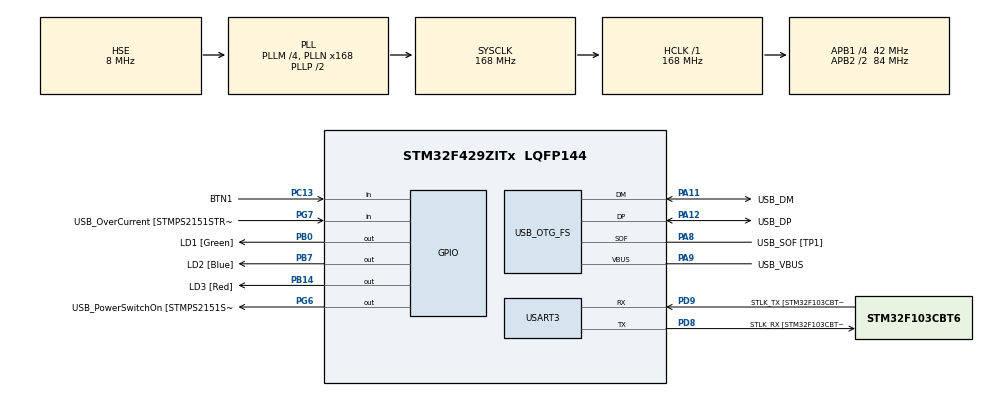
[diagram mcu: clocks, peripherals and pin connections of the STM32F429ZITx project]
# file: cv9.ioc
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Mcu.Family=STM32F4
Mcu.Name=STM32F429ZITx
Mcu.Package=LQFP144
NVIC.OTG_FS_IRQn=true\:0\:0\:false\:false\:true\:false\:true\:true
NVIC.PriorityGroup=NVIC_PRIORITYGROUP_4
PA1.GPIO_Label=RMII_REF_CLK [LAN8742A-CZ-TR_REFCLK0]
PA1.Signal=ETH_REF_CLK
PA10.GPIO_Label=USB_ID
PA10.Signal=USB_OTG_FS_ID
PA11.GPIO_Label=USB_DM
PA11.Mode=Device_Only
PA11.Signal=USB_OTG_FS_DM
PA12.GPIO_Label=USB_DP
PA12.Mode=Device_Only
PA12.Signal=USB_OTG_FS_DP
PA13.GPIO_Label=TMS
PA13.Mode=Serial_Wire
PA13.Signal=SYS_JTMS-SWDIO
PA14.GPIO_Label=TCK
PA14.Mode=Serial_Wire
PA14.Signal=SYS_JTCK-SWCLK
PA2.GPIO_Label=RMII_MDIO [LAN8742A-CZ-TR_MDIO]
PA2.Signal=ETH_MDIO
PA7.GPIO_Label=RMII_CRS_DV [LAN8742A-CZ-TR_CRS_DV]
PA7.Signal=ETH_CRS_DV
PA8.GPIO_Label=USB_SOF [TP1]
PA8.Mode=Activate_SOF_FS
PA8.Signal=USB_OTG_FS_SOF
PA9.GPIO_Label=USB_VBUS
PA9.Mode=Activate_VBUS
PA9.Signal=USB_OTG_FS_VBUS
PB0.GPIO_Label=LD1 [Green]
PB0.Signal=GPIO_Output
PB13.GPIO_Label=RMII_TXD1 [LAN8742A-CZ-TR_TXD1]
PB13.Signal=ETH_TXD1
PB14.GPIO_Label=LD3 [Red]
PB14.Signal=GPIO_Output
PB7.GPIO_Label=LD2 [Blue]
PB7.Signal=GPIO_Output
PC1.GPIO_Label=RMII_MDC [LAN8742A-CZ-TR_MDC]
PC1.Signal=ETH_MDC
PC13.GPIO_Label=BTN1
PC13.Signal=GPIO_Input
PC14/OSC32_IN.Mode=LSE-External-Oscillator
PC14/OSC32_IN.Signal=RCC_OSC32_IN
PC15/OSC32_OUT.Mode=LSE-External-Oscillator
PC15/OSC32_OUT.Signal=RCC_OSC32_OUT
PC4.GPIO_Label=RMII_RXD0 [LAN8742A-CZ-TR_RXD0]
PC4.Signal=ETH_RXD0
PC5.GPIO_Label=RMII_RXD1 [LAN8742A-CZ-TR_RXD1]
PC5.Signal=ETH_RXD1
PD8.GPIO_Label=STLK_RX [STM32F103CBT6_PA3]
PD8.Mode=Asynchronous
PD8.Signal=USART3_TX
PD9.GPIO_Label=STLK_TX [STM32F103CBT6_PA2]
PD9.Mode=Asynchronous
PD9.Signal=USART3_RX
PG11.GPIO_Label=RMII_TX_EN [LAN8742A-CZ-TR_TXEN]
PG11.Signal=ETH_TX_EN
PG13.GPIO_Label=RMII_TXD0 [LAN8742A-CZ-TR_TXD0]
PG13.Signal=ETH_TXD0
PG6.GPIO_Label=USB_PowerSwitchOn [STMPS2151STR_EN]
PG6.Signal=GPIO_Output
PG7.GPIO_Label=USB_OverCurrent [STMPS2151STR_FAULT]
PG7.Signal=GPIO_Input
PH0/OSC_IN.GPIO_Label=MCO [STM32F103CBT6_PA8]
PH0/OSC_IN.Mode=HSE-External-Clock-Source
PH0/OSC_IN.Signal=RCC_OSC_IN
PH1/OSC_OUT.Mode=HSE-External-Clock-Source
PH1/OSC_OUT.Signal=RCC_OSC_OUT
ProjectManager.HeapSize=0x200
ProjectManager.StackSize=0x400
ProjectManager.TargetToolchain=STM32CubeIDE
RCC.48MHZClocksFreq_Value=48000000
RCC.AHBFreq_Value=168000000
RCC.APB1CLKDivider=RCC_HCLK_DIV4
RCC.APB1Freq_Value=42000000
RCC.APB1TimFreq_Value=84000000
RCC.APB2CLKDivider=RCC_HCLK_DIV2
RCC.APB2Freq_Value=84000000
RCC.APB2TimCLKDivider=2
RCC.APB2TimFreq_Value=168000000
RCC.CortexFreq_Value=168000000
RCC.HCLKFreq_Value=168000000
RCC.HSE_VALUE=8000000
RCC.HSI_VALUE=16000000
RCC.PLLM=4
RCC.PLLMUL=RCC_PLL_MUL9
RCC.PLLN=168
RCC.PLLQ=7
RCC.PRESCALERUSB=RCC_USBCLKSOURCE_PLL_DIV1_5
RCC.SYSCLKFreq_VALUE=168000000
RCC.SYSCLKSource=RCC_SYSCLKSOURCE_PLLCLK
RCC.SYSCLKSourceVirtual=RCC_SYSCLKSOURCE_PLLCLK
RCC.USBFreq_Value=48000000
RCC.VCOOutputFreq_Value=336000000
USART3.VirtualMode=VM_ASYNC
USB_DEVICE.CLASS_NAME_FS=HID
USB_DEVICE.VirtualMode-HID_FS=Hid
USB_DEVICE.VirtualModeFS=Hid_FS
USB_OTG_FS.VirtualMode=Device_Only
VP_USB_DEVICE_VS_USB_DEVICE_HID_FS.Mode=HID_FS
board=NUCLEO-F429ZI

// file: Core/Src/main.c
/* USER CODE BEGIN Header */
/**
 ******************************************************************************
 * @file           : main.c
 * @brief          : Main program body
 ******************************************************************************
 * @attention
 *
 * Copyright (c) 2025 STMicroelectronics.
 * All rights reserved.
 *
 * This software is licensed under terms that can be found in the LICENSE file
 * in the root directory of this software component.
 * If no LICENSE file comes with this software, it is provided AS-IS.
 *
 ******************************************************************************
 */
/* USER CODE END Header */
#include "main.h"
#include "usb_device.h"

/* USER CODE BEGIN Includes */
#include "usbd_hid.h"
#include <math.h>

/* USER CODE END Includes */

/* USER CODE BEGIN PD */
#define BTN_PRESSED 	1
#define BTN_RELEASED 	0
/* USER CODE END PD */

UART_HandleTypeDef huart3;

/* USER CODE BEGIN PV */
extern USBD_HandleTypeDef hUsbDeviceFS;
/* USER CODE END PV */

void SystemClock_Config(void);
static void MX_GPIO_Init(void);
static void MX_USART3_UART_Init(void);

/* USER CODE BEGIN 0 */
void step(int x, int y, uint8_t btn) {
	uint8_t buff[4];
	buff[0] = 0x00 | btn; // press the left button
	buff[1] = (int8_t)(x); // shift X +10
	buff[2] = (int8_t)(y); // shift Y -3
	buff[3] = 0; // no scroll
	USBD_HID_SendReport(&hUsbDeviceFS, buff, sizeof(buff));
	HAL_Delay(USBD_HID_GetPollingInterval(&hUsbDeviceFS));
}

void draw_circle(float radius, int px, int py, int init_phi, int end_phi) {
	float x = 0, y = 0;

	step(px,py, 0);

	for (int i = init_phi; i <= end_phi; i++) {
		x = round(radius * cos(i*M_PI/180));
		y = round(radius * sin(i*M_PI/180));
		step((int)x, (int)y, 1);
	}
	step(0,0,0);
}
/* USER CODE END 0 */

int main(void)
{

	/* MCU Configuration--------------------------------------------------------*/

	/* Reset of all peripherals, Initializes the Flash interface and the Systick. */
	HAL_Init();

	/* Configure the system clock */
	SystemClock_Config();

	/* Initialize all configured peripherals */
	MX_GPIO_Init();
	MX_USART3_UART_Init();
	MX_USB_DEVICE_Init();

	/* Infinite loop */
	/* USER CODE BEGIN WHILE */
	while (1)
	{
		if (HAL_GPIO_ReadPin(BTN1_GPIO_Port, BTN1_Pin)) {

			draw_circle(5, 0, 0, 0, 360);

			step(0,0,BTN_RELEASED);
			step(0,100,BTN_PRESSED);
			step(0,60,BTN_PRESSED);
			step(0,0,BTN_RELEASED);

			step(-60,0,BTN_PRESSED);
			step(0,0,BTN_RELEASED);
			step(0,-80,BTN_PRESSED);
			step(0,0,BTN_RELEASED);
			draw_circle(1, 0, 0, 0, 360);

			step(60,0,BTN_PRESSED);
			step(0,0,BTN_RELEASED);
			step(75,0,BTN_PRESSED);
			step(0,0,BTN_RELEASED);
			draw_circle(1, 0, 0, 0, 360);

			step(20,0,BTN_PRESSED);
			step(0,0,BTN_RELEASED);
			step(0,80,BTN_PRESSED);
			step(0,0,BTN_RELEASED);
			draw_circle(4, 0, 0, 120, 240);

		}
		/* USER CODE END WHILE */

	}
}

void SystemClock_Config(void)
{
	RCC_OscInitTypeDef RCC_OscInitStruct = {0};
	RCC_ClkInitTypeDef RCC_ClkInitStruct = {0};

	/** Configure the main internal regulator output voltage
	 */
	__HAL_RCC_PWR_CLK_ENABLE();
	__HAL_PWR_VOLTAGESCALING_CONFIG(PWR_REGULATOR_VOLTAGE_SCALE1);

	/** Initializes the RCC Oscillators according to the specified parameters
	 * in the RCC_OscInitTypeDef structure.
	 */
	RCC_OscInitStruct.OscillatorType = RCC_OSCILLATORTYPE_HSE;
	RCC_OscInitStruct.HSEState = RCC_HSE_BYPASS;
	RCC_OscInitStruct.PLL.PLLState = RCC_PLL_ON;
	RCC_OscInitStruct.PLL.PLLSource = RCC_PLLSOURCE_HSE;
	RCC_OscInitStruct.PLL.PLLM = 4;
	RCC_OscInitStruct.PLL.PLLN = 168;
	RCC_OscInitStruct.PLL.PLLP = RCC_PLLP_DIV2;
	RCC_OscInitStruct.PLL.PLLQ = 7;
	if (HAL_RCC_OscConfig(&RCC_OscInitStruct) != HAL_OK)
	{
		Error_Handler();
	}

	/** Initializes the CPU, AHB and APB buses clocks
	 */
	RCC_ClkInitStruct.ClockType = RCC_CLOCKTYPE_HCLK|RCC_CLOCKTYPE_SYSCLK
			|RCC_CLOCKTYPE_PCLK1|RCC_CLOCKTYPE_PCLK2;
	RCC_ClkInitStruct.SYSCLKSource = RCC_SYSCLKSOURCE_PLLCLK;
	RCC_ClkInitStruct.AHBCLKDivider = RCC_SYSCLK_DIV1;
	RCC_ClkInitStruct.APB1CLKDivider = RCC_HCLK_DIV4;
	RCC_ClkInitStruct.APB2CLKDivider = RCC_HCLK_DIV2;

	if (HAL_RCC_ClockConfig(&RCC_ClkInitStruct, FLASH_LATENCY_5) != HAL_OK)
	{
		Error_Handler();
	}
}

static void MX_USART3_UART_Init(void)
{

	huart3.Instance = USART3;
	huart3.Init.BaudRate = 115200;
	huart3.Init.WordLength = UART_WORDLENGTH_8B;
	huart3.Init.StopBits = UART_STOPBITS_1;
	huart3.Init.Parity = UART_PARITY_NONE;
	huart3.Init.Mode = UART_MODE_TX_RX;
	huart3.Init.HwFlowCtl = UART_HWCONTROL_NONE;
	huart3.Init.OverSampling = UART_OVERSAMPLING_16;
	if (HAL_UART_Init(&huart3) != HAL_OK)
	{
		Error_Handler();
	}

}

static void MX_GPIO_Init(void)
{
	GPIO_InitTypeDef GPIO_InitStruct = {0};

	/* GPIO Ports Clock Enable */
	__HAL_RCC_GPIOC_CLK_ENABLE();
	__HAL_RCC_GPIOH_CLK_ENABLE();
	__HAL_RCC_GPIOA_CLK_ENABLE();
	__HAL_RCC_GPIOB_CLK_ENABLE();
	__HAL_RCC_GPIOD_CLK_ENABLE();
	__HAL_RCC_GPIOG_CLK_ENABLE();

	/*Configure GPIO pin Output Level */
	HAL_GPIO_WritePin(GPIOB, LD1_Pin|LD3_Pin|LD2_Pin, GPIO_PIN_RESET);

	/*Configure GPIO pin Output Level */
	HAL_GPIO_WritePin(USB_PowerSwitchOn_GPIO_Port, USB_PowerSwitchOn_Pin, GPIO_PIN_RESET);

	/*Configure GPIO pin : BTN1_Pin */
	GPIO_InitStruct.Pin = BTN1_Pin;
	GPIO_InitStruct.Mode = GPIO_MODE_IT_RISING;
	GPIO_InitStruct.Pull = GPIO_NOPULL;
	HAL_GPIO_Init(BTN1_GPIO_Port, &GPIO_InitStruct);

	/*Configure GPIO pins : RMII_MDC_Pin RMII_RXD0_Pin RMII_RXD1_Pin */
	GPIO_InitStruct.Pin = RMII_MDC_Pin|RMII_RXD0_Pin|RMII_RXD1_Pin;
	GPIO_InitStruct.Mode = GPIO_MODE_AF_PP;
	GPIO_InitStruct.Pull = GPIO_NOPULL;
	GPIO_InitStruct.Speed = GPIO_SPEED_FREQ_VERY_HIGH;
	GPIO_InitStruct.Alternate = GPIO_AF11_ETH;
	HAL_GPIO_Init(GPIOC, &GPIO_InitStruct);

	/*Configure GPIO pins : RMII_REF_CLK_Pin RMII_MDIO_Pin RMII_CRS_DV_Pin */
	GPIO_InitStruct.Pin = RMII_REF_CLK_Pin|RMII_MDIO_Pin|RMII_CRS_DV_Pin;
	GPIO_InitStruct.Mode = GPIO_MODE_AF_PP;
	GPIO_InitStruct.Pull = GPIO_NOPULL;
	GPIO_InitStruct.Speed = GPIO_SPEED_FREQ_VERY_HIGH;
	GPIO_InitStruct.Alternate = GPIO_AF11_ETH;
	HAL_GPIO_Init(GPIOA, &GPIO_InitStruct);

	/*Configure GPIO pins : LD1_Pin LD3_Pin LD2_Pin */
	GPIO_InitStruct.Pin = LD1_Pin|LD3_Pin|LD2_Pin;
	GPIO_InitStruct.Mode = GPIO_MODE_OUTPUT_PP;
	GPIO_InitStruct.Pull = GPIO_NOPULL;
	GPIO_InitStruct.Speed = GPIO_SPEED_FREQ_LOW;
	HAL_GPIO_Init(GPIOB, &GPIO_InitStruct);

	/*Configure GPIO pin : RMII_TXD1_Pin */
	GPIO_InitStruct.Pin = RMII_TXD1_Pin;
	GPIO_InitStruct.Mode = GPIO_MODE_AF_PP;
	GPIO_InitStruct.Pull = GPIO_NOPULL;
	GPIO_InitStruct.Speed = GPIO_SPEED_FREQ_VERY_HIGH;
	GPIO_InitStruct.Alternate = GPIO_AF11_ETH;
	HAL_GPIO_Init(RMII_TXD1_GPIO_Port, &GPIO_InitStruct);

	/*Configure GPIO pin : USB_PowerSwitchOn_Pin */
	GPIO_InitStruct.Pin = USB_PowerSwitchOn_Pin;
	GPIO_InitStruct.Mode = GPIO_MODE_OUTPUT_PP;
	GPIO_InitStruct.Pull = GPIO_NOPULL;
	GPIO_InitStruct.Speed = GPIO_SPEED_FREQ_LOW;
	HAL_GPIO_Init(USB_PowerSwitchOn_GPIO_Port, &GPIO_InitStruct);

	/*Configure GPIO pin : USB_OverCurrent_Pin */
	GPIO_InitStruct.Pin = USB_OverCurrent_Pin;
	GPIO_InitStruct.Mode = GPIO_MODE_INPUT;
	GPIO_InitStruct.Pull = GPIO_NOPULL;
	HAL_GPIO_Init(USB_OverCurrent_GPIO_Port, &GPIO_InitStruct);

	/*Configure GPIO pins : RMII_TX_EN_Pin RMII_TXD0_Pin */
	GPIO_InitStruct.Pin = RMII_TX_EN_Pin|RMII_TXD0_Pin;
	GPIO_InitStruct.Mode = GPIO_MODE_AF_PP;
	GPIO_InitStruct.Pull = GPIO_NOPULL;
	GPIO_InitStruct.Speed = GPIO_SPEED_FREQ_VERY_HIGH;
	GPIO_InitStruct.Alternate = GPIO_AF11_ETH;
	HAL_GPIO_Init(GPIOG, &GPIO_InitStruct);

}

void Error_Handler(void)
{
	__disable_irq();
	while (1)
	{
	}
}
